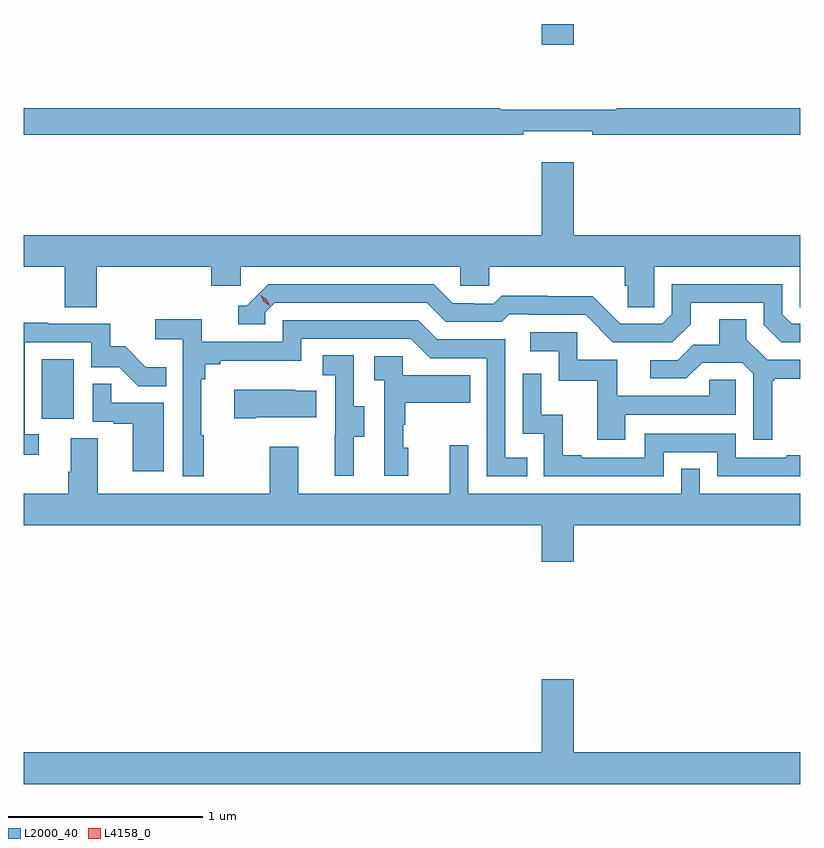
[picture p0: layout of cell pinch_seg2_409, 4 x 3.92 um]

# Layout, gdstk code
import gdstk
lib = gdstk.Library(unit=1e-6, precision=1e-09)
def R(c, l, rs):  # rectangles x0, y0, x1, y1
    for r in rs: c.add(gdstk.rectangle(r[:2], r[2:], *l))
def P(c, l, *ps):  # polygons
    for p in ps: c.add(gdstk.Polygon(p, *l))
L2000_40 = (2000, 40)
L4158_0 = (4158, 0)

pinch_seg2_409 = lib.new_cell('pinch_seg2_409')
R(pinch_seg2_409, L2000_40, [(1001.594,612.222,1001.758,612.529), (1004.168,614.148,1004.332,614.255)])
P(pinch_seg2_409, L2000_40, [(1004.072,613.703),(1004.428,613.703),(1004.428,613.684),(1005.5,613.684),(1005.5,613.82),(1004.555,613.82),(1004.555,613.813),(1003.955,613.813),(1003.955,613.82),(1001.5,613.82),(1001.5,613.684),(1004.072,613.684)],
  [(1001.876,613.004),(1002.467,613.004),(1002.467,612.906),(1002.618,612.906),(1002.618,613.004),(1003.749,613.004),(1003.749,612.906),(1003.899,612.906),(1003.899,613.004),(1004.597,613.004),(1004.597,612.906),(1004.611,612.906),(1004.611,612.796),(1004.748,612.796),(1004.748,613.004),(1005.498,613.004),(1005.498,612.796),(1005.5,612.796),(1005.5,613.168),(1004.332,613.168),(1004.332,613.543),(1004.168,613.543),(1004.168,613.168),(1001.5,613.168),(1001.5,613.004),(1001.711,613.004),(1001.711,612.796),(1001.876,612.796)],
  [(1004.935,612.709),(1004.935,612.819),(1005.312,612.819),(1005.312,612.705),(1005.402,612.615),(1005.5,612.615),(1005.5,612.711),(1005.456,612.711),(1005.408,612.759),(1005.408,612.915),(1004.838,612.915),(1004.838,612.759),(1004.79,612.711),(1004.574,612.711),(1004.432,612.853),(1004.196,612.853),(1004.196,612.856),(1003.963,612.856),(1003.921,612.813),(1003.818,612.813),(1003.818,612.816),(1003.711,612.816),(1003.612,612.915),(1002.759,612.915),(1002.648,612.804),(1002.605,612.804),(1002.605,612.708),(1002.744,612.708),(1002.744,612.771),(1002.792,612.819),(1003.575,612.819),(1003.674,612.72),(1003.963,612.72),(1004.002,612.759),(1004.101,612.759),(1004.101,612.756),(1004.394,612.756),(1004.535,612.615),(1004.841,612.615)],
  [(1005.355,612.417),(1005.367,612.417),(1005.367,612.428),(1005.5,612.428),(1005.5,612.525),(1005.33,612.525),(1005.223,612.632),(1005.223,612.734),(1005.083,612.734),(1005.083,612.602),(1004.948,612.602),(1004.868,612.522),(1004.727,612.522),(1004.727,612.429),(1004.914,612.429),(1004.995,612.51),(1005.201,612.51),(1005.258,612.453),(1005.258,612.114),(1005.355,612.114)],
  [(1002.427,612.137),(1002.415,612.137),(1002.415,612.425),(1002.434,612.425),(1002.434,612.502),(1002.511,612.502),(1002.511,612.521),(1002.93,612.521),(1002.93,612.633),(1003.494,612.633),(1003.593,612.534),(1003.884,612.534),(1003.884,611.925),(1004.093,611.925),(1004.093,612.021),(1003.98,612.021),(1003.98,612.63),(1003.63,612.63),(1003.531,612.729),(1002.834,612.729),(1002.834,612.618),(1002.416,612.618),(1002.416,612.734),(1002.177,612.734),(1002.177,612.632),(1002.318,612.632),(1002.318,611.925),(1002.427,611.925)],
  [(1001.578,612.141),(1001.505,612.141),(1001.505,612.615),(1001.847,612.615),(1001.847,612.486),(1001.991,612.486),(1002.089,612.388),(1002.233,612.388),(1002.233,612.487),(1002.129,612.487),(1002.022,612.594),(1001.946,612.594),(1001.946,612.711),(1001.627,612.711),(1001.627,612.716),(1001.5,612.716),(1001.5,612.036),(1001.578,612.036)],
  [(1004.599,612.243),(1005.168,612.243),(1005.168,612.423),(1005.031,612.423),(1005.031,612.339),(1004.557,612.339),(1004.557,612.525),(1004.352,612.525),(1004.352,612.666),(1004.109,612.666),(1004.109,612.57),(1004.256,612.57),(1004.256,612.417),(1004.455,612.417),(1004.455,612.114),(1004.599,612.114)],
  [(1003.201,612.13),(1003.255,612.13),(1003.255,612.285),(1003.2,612.285),(1003.2,612.548),(1003.041,612.548),(1003.041,612.445),(1003.104,612.445),(1003.104,612.141),(1003.103,612.141),(1003.103,611.928),(1003.201,611.928)],
  [(1003.48,612.072),(1003.455,612.072),(1003.455,612.191),(1003.465,612.191),(1003.465,612.305),(1003.799,612.305),(1003.799,612.445),(1003.452,612.445),(1003.452,612.543),(1003.305,612.543),(1003.305,612.419),(1003.356,612.419),(1003.356,611.928),(1003.48,611.928)],
  [(1004.796,612.048),(1005.072,612.048),(1005.072,611.925),(1005.5,611.925),(1005.5,612.034),(1005.431,612.034),(1005.431,612.021),(1005.168,612.021),(1005.168,612.144),(1004.7,612.144),(1004.7,612.021),(1004.371,612.021),(1004.371,612.034),(1004.276,612.034),(1004.276,612.242),(1004.166,612.242),(1004.166,612.454),(1004.07,612.454),(1004.07,612.144),(1004.178,612.144),(1004.178,611.925),(1004.796,611.925)],
  [(1002.22,612.303),(1001.951,612.303),(1001.951,612.401),(1001.856,612.401),(1001.856,612.207),(1001.963,612.207),(1001.963,612.195),(1002.062,612.195),(1002.062,611.952),(1002.22,611.952)],
  [(1002.697,612.23),(1003.007,612.23),(1003.007,612.367),(1002.899,612.367),(1002.899,612.37),(1002.585,612.37),(1002.585,612.223),(1002.697,612.223)],
  [(1004.168,611.484),(1004.332,611.484),(1004.332,611.672),(1005.5,611.672),(1005.5,611.836),(1004.982,611.836),(1004.982,611.963),(1004.886,611.963),(1004.886,611.836),(1003.791,611.836),(1003.791,612.085),(1003.694,612.085),(1003.694,611.836),(1002.913,611.836),(1002.913,612.076),(1002.766,612.076),(1002.766,611.836),(1001.881,611.836),(1001.881,612.122),(1001.741,612.122),(1001.741,611.948),(1001.729,611.948),(1001.729,611.836),(1001.5,611.836),(1001.5,611.672),(1004.168,611.672)],
  [(1005.5,610.504),(1004.332,610.504),(1004.332,610.879),(1004.168,610.879),(1004.168,610.504),(1001.5,610.504),(1001.5,610.34),(1005.5,610.34)])
P(pinch_seg2_409, L4158_0, [(1002.767,612.804),(1002.736,612.824),(1002.72,612.856),(1002.72,612.857),(1002.72,612.857),(1002.751,612.837),(1002.768,612.805),(1002.768,612.804)])

lib.write_gds('pinch_seg2_409.gds')
